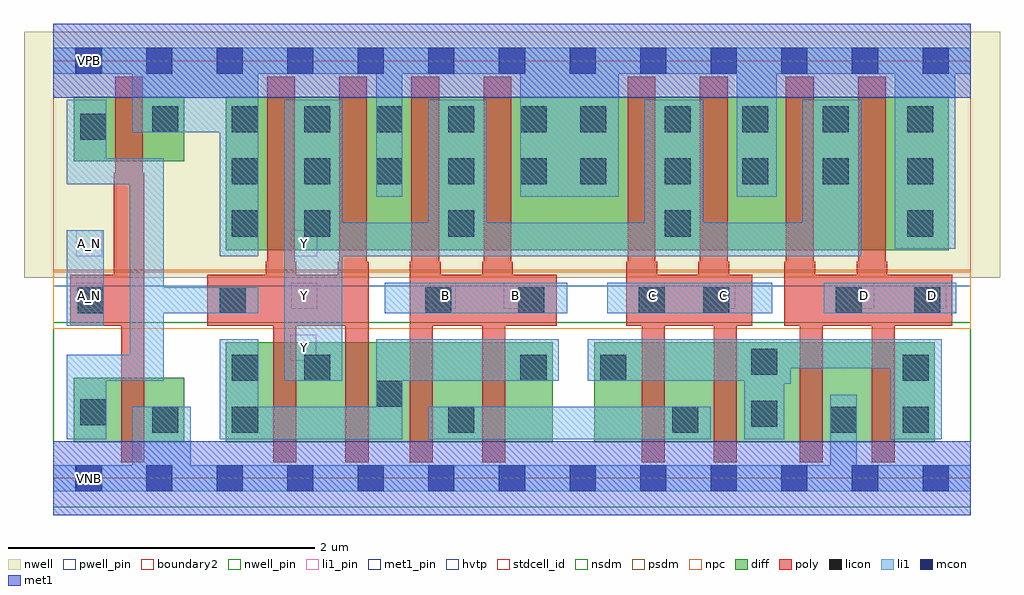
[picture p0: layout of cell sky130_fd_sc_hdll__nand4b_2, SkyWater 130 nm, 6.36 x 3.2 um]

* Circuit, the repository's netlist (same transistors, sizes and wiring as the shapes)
* Copyright 2020 The SkyWater PDK Authors
*
* Licensed under the Apache License, Version 2.0 (the "License");
* you may not use this file except in compliance with the License.
* You may obtain a copy of the License at
*
*     https://www.apache.org/licenses/LICENSE-2.0
*
* Unless required by applicable law or agreed to in writing, software
* distributed under the License is distributed on an "AS IS" BASIS,
* WITHOUT WARRANTIES OR CONDITIONS OF ANY KIND, either express or implied.
* See the License for the specific language governing permissions and
* limitations under the License.
*
* SPDX-License-Identifier: Apache-2.0

.SUBCKT sky130_fd_sc_hdll__nand4b_2 A_N B C D VGND VNB VPB VPWR Y
*.PININFO A_N:I B:I C:I D:I VGND:I VNB:I VPB:I VPWR:I Y:O
MMP0 Y A VPWR VPB sky130_fd_pr__pfet_01v8_hvt m=2 w=1.0U l=0.18U mult=1 sa=0.265
+ sb=0.265 sd=0.28 area=0.063 perim=1.14
MMP1 Y B VPWR VPB sky130_fd_pr__pfet_01v8_hvt m=2 w=1.0U l=0.18U mult=1 sa=0.265
+ sb=0.265 sd=0.28 area=0.063 perim=1.14
MMP2 Y C VPWR VPB sky130_fd_pr__pfet_01v8_hvt m=2 w=1.0U l=0.18U mult=1 sa=0.265
+ sb=0.265 sd=0.28 area=0.063 perim=1.14
MMP3 Y D VPWR VPB sky130_fd_pr__pfet_01v8_hvt m=2 w=1.0U l=0.18U mult=1 sa=0.265
+ sb=0.265 sd=0.28 area=0.063 perim=1.14
MMIP0 A A_N VPWR VPB sky130_fd_pr__pfet_01v8_hvt m=1 w=0.42U l=0.18U mult=1 sa=0.265
+ sb=0.265 sd=0.28 area=0.063 perim=1.14
MMN0 Y A sndA VNB sky130_fd_pr__nfet_01v8 m=2 w=0.65U l=0.15U mult=1 sa=0.265 sb=0.265
+ sd=0.28 area=0.063 perim=1.14
MMN1 sndA B sndB VNB sky130_fd_pr__nfet_01v8 m=2 w=0.65U l=0.15U mult=1 sa=0.265
+ sb=0.265 sd=0.28 area=0.063 perim=1.14
MMN2 sndB C sndC VNB sky130_fd_pr__nfet_01v8 m=2 w=0.65U l=0.15U mult=1 sa=0.265
+ sb=0.265 sd=0.28 area=0.063 perim=1.14
MMN3 sndC D VGND VNB sky130_fd_pr__nfet_01v8 m=2 w=0.65U l=0.15U mult=1 sa=0.265
+ sb=0.265 sd=0.28 area=0.063 perim=1.14
MMIN0 A A_N VGND VNB sky130_fd_pr__nfet_01v8 m=1 w=0.42U l=0.15U mult=1 sa=0.265
+ sb=0.265 sd=0.28 area=0.063 perim=1.14
.ENDS sky130_fd_sc_hdll__nand4b_2

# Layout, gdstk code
import gdstk
lib = gdstk.Library(unit=1e-6, precision=1e-09)
def R(c, l, rs):  # rectangles x0, y0, x1, y1
    for r in rs: c.add(gdstk.rectangle(r[:2], r[2:], *l))
def A(c, l, x, y, w, h, nx, ny, dx, dy):  # array of equal rectangles
    R(c, l, [(x+i*dx, y+j*dy, x+i*dx+w, y+j*dy+h) for i in range(nx) for j in range(ny)])
def P(c, l, *ps):  # polygons
    for p in ps: c.add(gdstk.Polygon(p, *l))
nwell_pin = (64, 16)
nwell = (64, 20)
diff = (65, 20)
poly = (66, 20)
licon = (66, 44)
li1_pin = (67, 16)
li1 = (67, 20)
mcon = (67, 44)
met1_pin = (68, 16)
met1 = (68, 20)
hvtp = (78, 44)
stdcell_id = (81, 4)
nsdm = (93, 44)
psdm = (94, 20)
npc = (95, 20)
pwell_pin = (122, 16)
boundary2 = (236, 0)

sky130_fd_sc_hdll__nand4 = lib.new_cell('sky130_fd_sc_hdll__nand4b_2')
R(sky130_fd_sc_hdll__nand4, nwell_pin, [(0.15,2.635,0.32,2.805)])
R(sky130_fd_sc_hdll__nand4, nwell, [(-0.19,1.305,6.17,2.91)])
R(sky130_fd_sc_hdll__nand4, diff, [(0.135,0.235,0.855,0.655), (1.125,0.235,3.255,0.885), (3.525,0.235,5.745,0.885), (1.125,1.485,5.835,2.485), (0.135,2.065,0.855,2.485)])
P(sky130_fd_sc_hdll__nand4, poly, [(0.595,1.99),(0.585,1.99),(0.585,2.615),(0.405,2.615),(0.405,1.99),(0.395,1.99),(0.395,1.325),(0.11,1.325),(0.11,0.995),(0.445,0.995),(0.445,0.105),(0.595,0.105)],
  [(2.055,1.41),(2.045,1.41),(2.045,2.615),(1.865,2.615),(1.865,1.41),(1.855,1.41),(1.855,1.325),(1.585,1.325),(1.585,1.41),(1.575,1.41),(1.575,2.615),(1.395,2.615),(1.395,1.41),(1.385,1.41),(1.385,1.325),(1.005,1.325),(1.005,0.995),(1.435,0.995),(1.435,0.105),(1.585,0.105),(1.585,0.995),(1.905,0.995),(1.905,0.105),(2.055,0.105)],
  [(3.28,1.325),(2.995,1.325),(2.995,1.41),(2.985,1.41),(2.985,2.615),(2.805,2.615),(2.805,1.41),(2.795,1.41),(2.795,1.325),(2.525,1.325),(2.525,1.41),(2.515,1.41),(2.515,2.615),(2.335,2.615),(2.335,1.41),(2.325,1.41),(2.325,0.105),(2.475,0.105),(2.475,0.995),(2.795,0.995),(2.795,0.105),(2.945,0.105),(2.945,0.995),(3.28,0.995)],
  [(4.555,1.325),(4.405,1.325),(4.405,1.41),(4.395,1.41),(4.395,2.615),(4.215,2.615),(4.215,1.41),(4.205,1.41),(4.205,1.325),(3.935,1.325),(3.935,1.41),(3.925,1.41),(3.925,2.615),(3.745,2.615),(3.745,1.41),(3.735,1.41),(3.735,0.995),(3.835,0.995),(3.835,0.105),(3.985,0.105),(3.985,0.995),(4.305,0.995),(4.305,0.105),(4.455,0.105),(4.455,0.995),(4.555,0.995)],
  [(5.86,1.325),(5.435,1.325),(5.435,1.41),(5.425,1.41),(5.425,2.615),(5.245,2.615),(5.245,1.41),(5.235,1.41),(5.235,1.325),(4.965,1.325),(4.965,1.41),(4.955,1.41),(4.955,2.615),(4.775,2.615),(4.775,1.41),(4.765,1.41),(4.765,0.995),(4.865,0.995),(4.865,0.105),(5.015,0.105),(5.015,0.995),(5.335,0.995),(5.335,0.105),(5.485,0.105),(5.485,0.995),(5.86,0.995)])
A(sky130_fd_sc_hdll__nand4, licon, 3.985, 1.575, 0.17, 0.17, 1, 3, 0, 0.34)
A(sky130_fd_sc_hdll__nand4, licon, 5.565, 1.575, 0.17, 0.17, 1, 3, 0, 0.34)
A(sky130_fd_sc_hdll__nand4, licon, 1.165, 1.915, 0.17, 0.17, 5, 2, 0.47, 0.34)
R(sky130_fd_sc_hdll__nand4, licon, [(0.645,0.295,0.815,0.465), (1.165,0.295,1.335,0.465), (2.575,0.295,2.745,0.465), (4.035,0.295,4.205,0.465), (5.065,0.295,5.235,0.465), (5.535,0.295,5.705,0.465), (4.55,0.335,4.72,0.505), (0.175,0.345,0.345,0.515), (2.105,0.465,2.275,0.635), (1.165,0.635,1.335,0.805), (1.635,0.635,1.805,0.805), (3.045,0.635,3.215,0.805), (3.565,0.635,3.735,0.805), (5.535,0.635,5.705,0.805), (4.55,0.675,4.72,0.845), (0.16,1.075,0.33,1.245), (1.085,1.075,1.255,1.245), (2.425,1.075,2.595,1.245), (3.03,1.075,3.2,1.245), (3.815,1.075,3.985,1.245), (4.235,1.075,4.405,1.245), (5.1,1.075,5.27,1.245), (5.61,1.075,5.78,1.245), (1.165,1.575,1.335,1.745), (1.635,1.575,1.805,1.745), (2.575,1.575,2.745,1.745), (3.435,1.915,3.605,2.085), (4.49,1.915,4.66,2.085), (5.015,1.915,5.185,2.085), (0.175,2.205,0.345,2.375), (0.645,2.255,0.815,2.425), (3.435,2.255,3.605,2.425), (4.49,2.255,4.66,2.425), (5.015,2.255,5.185,2.425)])
R(sky130_fd_sc_hdll__nand4, li1_pin, [(1.545,0.765,1.715,0.935), (0.15,1.105,0.32,1.275), (1.55,1.105,1.72,1.275), (2.455,1.105,2.625,1.275), (2.935,1.105,3.105,1.275), (3.815,1.105,3.985,1.275), (4.275,1.105,4.445,1.275), (5.18,1.105,5.35,1.275), (5.65,1.105,5.82,1.275), (0.15,1.445,0.32,1.615), (1.55,1.445,1.72,1.615)])
R(sky130_fd_sc_hdll__nand4, li1, [(2.445,0.255,4.285,0.465), (0.09,0.995,0.33,1.615), (2.16,1.075,3.35,1.275), (3.61,1.075,4.685,1.275), (5.02,1.075,5.885,1.275)])
P(sky130_fd_sc_hdll__nand4, li1, [(5.79,0.905),(3.485,0.905),(3.485,0.635),(4.505,0.635),(4.505,0.255),(4.765,0.255),(4.765,0.615),(4.805,0.615),(4.805,0.715),(5.455,0.715),(5.455,0.255),(5.79,0.255)],
  [(5.98,2.805),(0,2.805),(0,2.635),(0.515,2.635),(0.515,2.255),(1.085,2.255),(1.085,1.445),(1.335,1.445),(1.335,2.635),(2.105,2.635),(2.105,1.835),(2.275,1.835),(2.275,2.635),(3.045,2.635),(3.045,1.835),(3.685,1.835),(3.685,2.635),(4.455,2.635),(4.455,1.835),(4.715,1.835),(4.715,2.635),(5.485,2.635),(5.485,1.495),(5.88,1.495),(5.88,2.635),(5.98,2.635)],
  [(5.265,2.465),(4.885,2.465),(4.885,1.665),(4.235,1.665),(4.235,2.465),(3.855,2.465),(3.855,1.665),(2.825,1.665),(2.825,2.465),(2.445,2.465),(2.445,1.665),(1.885,1.665),(1.885,2.465),(1.505,2.465),(1.505,0.635),(1.885,0.635),(1.885,1.445),(5.265,1.445)],
  [(1.335,1.245),(0.72,1.245),(0.72,2.085),(0.345,2.085),(0.345,2.465),(0.09,2.465),(0.09,1.915),(0.5,1.915),(0.5,0.805),(0.09,0.805),(0.09,0.255),(0.345,0.255),(0.345,0.635),(0.72,0.635),(0.72,1.075),(1.335,1.075)],
  [(5.98,0.085),(5.235,0.085),(5.235,0.545),(5.065,0.545),(5.065,0.085),(0.895,0.085),(0.895,0.465),(0.515,0.465),(0.515,0.085),(0,0.085),(0,-0.085),(5.98,-0.085)],
  [(3.295,0.905),(2.105,0.905),(2.105,0.465),(1.335,0.465),(1.335,0.905),(1.085,0.905),(1.085,0.255),(2.275,0.255),(2.275,0.635),(3.295,0.635)])
A(sky130_fd_sc_hdll__nand4, mcon, 0.145, -0.085, 0.17, 0.17, 13, 2, 0.46, 2.72)
R(sky130_fd_sc_hdll__nand4, met1_pin, [(0.15,-0.085,0.32,0.085), (0.15,2.635,0.32,2.805)])
R(sky130_fd_sc_hdll__nand4, met1, [(0,-0.24,5.98,0.24), (0,2.48,5.98,2.96)])
R(sky130_fd_sc_hdll__nand4, hvtp, [(0,1.25,5.98,2.72)])
R(sky130_fd_sc_hdll__nand4, stdcell_id, [(0,0,5.98,2.72)])
R(sky130_fd_sc_hdll__nand4, nsdm, [(0,-0.19,5.98,1.015)])
R(sky130_fd_sc_hdll__nand4, psdm, [(0,1.355,5.98,2.91)])
R(sky130_fd_sc_hdll__nand4, npc, [(0,0.975,5.98,1.345)])
R(sky130_fd_sc_hdll__nand4, pwell_pin, [(0.15,-0.085,0.32,0.085)])
R(sky130_fd_sc_hdll__nand4, boundary2, [(0,0,5.98,2.72)])
sky130_fd_sc_hdll__nand4.add(gdstk.Label('D', (5.285,1.19), layer=67, texttype=5))
sky130_fd_sc_hdll__nand4.add(gdstk.Label('D', (5.73,1.19), layer=67, texttype=5))
sky130_fd_sc_hdll__nand4.add(gdstk.Label('C', (4.365,1.19), layer=67, texttype=5))
sky130_fd_sc_hdll__nand4.add(gdstk.Label('C', (3.905,1.19), layer=67, texttype=5))
sky130_fd_sc_hdll__nand4.add(gdstk.Label('B', (3.015,1.19), layer=67, texttype=5))
sky130_fd_sc_hdll__nand4.add(gdstk.Label('B', (2.555,1.19), layer=67, texttype=5))
sky130_fd_sc_hdll__nand4.add(gdstk.Label('Y', (1.635,0.85), layer=67, texttype=5))
sky130_fd_sc_hdll__nand4.add(gdstk.Label('Y', (1.635,1.19), layer=67, texttype=5))
sky130_fd_sc_hdll__nand4.add(gdstk.Label('Y', (1.635,1.53), layer=67, texttype=5))
sky130_fd_sc_hdll__nand4.add(gdstk.Label('A_N', (0.235,1.53), layer=67, texttype=5))
sky130_fd_sc_hdll__nand4.add(gdstk.Label('A_N', (0.235,1.19), layer=67, texttype=5))
sky130_fd_sc_hdll__nand4.add(gdstk.Label('VNB', (0.235,0), layer=64, texttype=59))
sky130_fd_sc_hdll__nand4.add(gdstk.Label('VPB', (0.235,2.72), layer=64, texttype=5))
sky130_fd_sc_hdll__nand4.add(gdstk.Label('VGND', (0.235,0), layer=68, texttype=5))
sky130_fd_sc_hdll__nand4.add(gdstk.Label('VPWR', (0.235,2.72), layer=68, texttype=5))
sky130_fd_sc_hdll__nand4.add(gdstk.Label('nand4b_2', (0,0), layer=83, texttype=44))

lib.write_gds('sky130_fd_sc_hdll__nand4b_2.gds')
